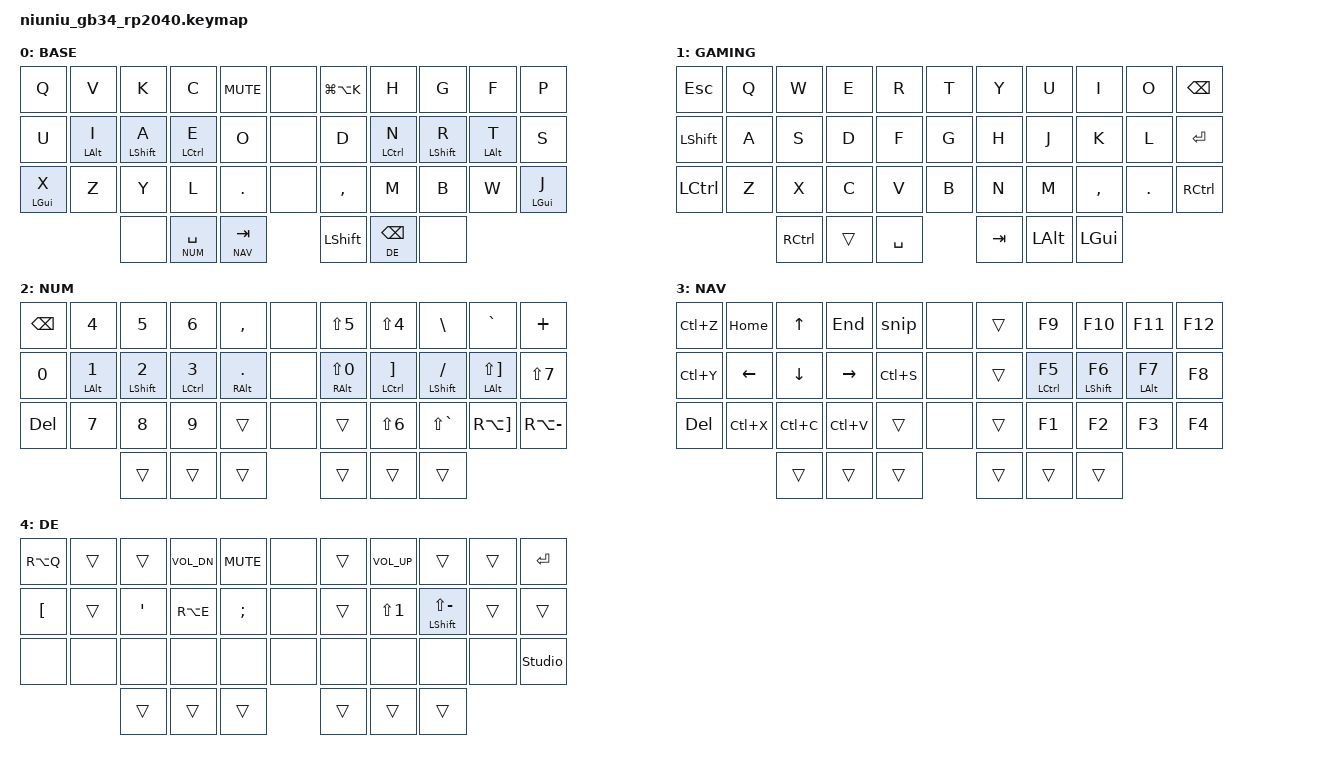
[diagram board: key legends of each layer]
// Copyright (c) 2023 The ZMK Contributors
// SPDX-License-Identifier: MIT

#include <behaviors.dtsi>
#include <dt-bindings/zmk/keys.h>
#include <dt-bindings/zmk/outputs.h>


#define BASE 0
#define NUM  2
#define NAV  3
#define DE   4
#define GAMING 1

#define COMBO(NAME, BINDINGS, KEYPOS, LAYERS) \
combo_##NAME { \
    timeout-ms = <20>; \
    bindings = <BINDINGS>; \
    key-positions = <KEYPOS>; \
    layers = <LAYERS>; \
};

// ------------------------------------------------------------------------------------------------------
// |    0    |    1    |    2    |    3    |    4    |    5    |    6    |    7    |    8    |    9    |   10    |
// |   11    |   12    |   13    |   14    |   15    |   16    |   17    |   18    |   19    |   20    |   21    |
// |   22    |   23    |   24    |   25    |   26    |   27    |   28    |   29    |   30    |   31    |   32    |
//                 |   33    |   34    |   35    |       36       |   37    |   38    |   39    |

/ {

   chosen {
       zmk-physical-layout = &layout_ortho_2x2u;
   };

   combos {
       compatible = "zmk,combos";
        /* Top corners (Q+P) = bootloader */

        COMBO(boot, &bootloader, 0 10, BASE)
        COMBO(shiftablesch, &macro_shiftable_sch, 19 20, 0)
        COMBO(sfS,  &kp MINUS,  18 19, BASE DE) // Scharf S ß
        COMBO(LT,   &kp NUBS,       23  24, BASE ) // lower than
        COMBO(GT,   &kp LS(NUBS),   30  31, BASE ) // greater than
        COMBO(PIP,  &kp RA(NUBS),   30  31, NUM ) // PIPE
        COMBO(DOT,  &kp DOT,        12  13, BASE NUM)  
        COMBO(CMA,&kp COMMA,        13  14, BASE NUM)
        COMBO(ESC,  &kp ESC,        11  1,  BASE NUM NAV DE)
        COMBO(SQT,  &kp LS(NUHS),   29 30, NUM ) // Single quotes
        COMBO(DQT,  &kp LS(N2),     29  30, BASE )// Double quotes
        COMBO(EQL,  &kp LS(N0),     18  19, NUM)
        COMBO(ENTR, &kp ENTER,      8   9,  BASE NUM NAV DE)
        COMBO(ENTR2, &kp ENTER,     1   2,  BASE NUM NAV DE)
        COMBO(GAM, &tog GAMING,     33  38, BASE GAMING)
        COMBO(br1,  &macro_brc1,     24 25,  NUM)
        COMBO(br2,  &macro_brc2,     23 24,  NUM)
        COMBO(br3,  &macro_brc3,     22 23,  NUM)

    };
    macros {
        snip: snip {
            compatible = "zmk,behavior-macro";
            #binding-cells = <0>;
            bindings = <&macro_press &kp LSHFT &kp LEFT_GUI
                        &macro_tap &kp S
                        &macro_release &kp LSHIFT &kp LEFT_GUI>;
            display-name = "SNIP";
        };
        macro_shiftable_sch: macro_shiftable_sch {
            display-name = "Macro_shiftable_sch";
            compatible = "zmk,behavior-macro";
            #binding-cells = <0>;
            bindings = <
                    &macro_tap &kp S
                    &macro_release &kp LSHIFT
                    &macro_tap &kp C &kp H
            >;
            tap-ms = <10>;
        };
        macro_brc1: macro_brc1 {
            display-name = "macro_brc1";
            compatible = "zmk,behavior-macro";
            #binding-cells = <0>;
            bindings = <
                    &macro_tap &kp LS(N8)
                    &macro_tap &kp LS(N9)
                    &macro_tap &kp LEFT
            >;
            tap-ms = <10>;
        };
        macro_brc2: macro_brc2 {
            display-name = "macro_brc2";
            compatible = "zmk,behavior-macro";
            #binding-cells = <0>;
            bindings = <
                    &macro_tap &kp RA(N8)
                    &macro_tap &kp RA(N9)
                    &macro_tap &kp LEFT
            >;
            tap-ms = <10>;
        };
        macro_brc3: macro_brc3 {
            display-name = "macro_brc3";
            compatible = "zmk,behavior-macro";
            #binding-cells = <0>;
            bindings = <
                    &macro_tap &kp RA(N7)
                    &macro_tap &kp RA(N0)
                    &macro_tap &kp LEFT
            >;
            tap-ms = <10>;
        };


    };

    behaviors {
        hl: homerow_mods_left {
            compatible = "zmk,behavior-hold-tap";
            display-name = "homerow mods left";
            #binding-cells = <2>;
            //flavor = "hold-preferred";
            // flavor = "tap-preferred";
            flavor = "balanced";
            tapping-term-ms = <200>;
            //quick-tap-ms = <100>;
            //hold-while-undecided;
            // global-quick-tap;
            bindings = <&kp>, <&kp>;
            // opposite side hand keys
            hold-trigger-key-positions = <5 6 7 8 9 10  16 17 18 19 20 21 27 28 29 30 31 32 33 34 35 36 37 38 39>;
        };
        hr: homerow_mods_right {
            compatible = "zmk,behavior-hold-tap";
            display-name = "homerow mods right";
            #binding-cells = <2>;
            //flavor = "hold-preferred";
            // flavor = "tap-preferred";
            flavor = "balanced";
            tapping-term-ms = <200>;
            //hold-while-undecided;
            //quick-tap-ms = <100>;
            // global-quick-tap;
            bindings = <&kp>, <&kp>;
            // opposite side hand keys
            hold-trigger-key-positions = <0 1 2 3 4 5 11 12 13 14 15 22 23 24 25 26 33 34 35 36 37 38 39>;
        };
        lt_wr: layer_toggle_write {
            compatible = "zmk,behavior-hold-tap";
            #binding-cells = <2>;
            flavor = "hold-preferred";
            tapping-term-ms = <200>;
            bindings = <&mo>, <&kp>;
            display-name = "Layer-Toggle writing";
        };
    };


    keymap {
        compatible = "zmk,keymap";

        BASE_layer {
            display-name= "BASE";
            bindings = <
    &kp Q       &kp V        &kp K          &kp C           &kp C_MUTE   &none    &kp LG(LA(K))    &kp H       &kp G       &kp F       &kp P
    &kp U       &hl LALT I   &hl LSHFT A    &hl LCTRL E     &kp O       &none    &kp D       &hr LCTRL N &hr LSHFT R &hr LALT T  &kp S
    &hl LGUI X  &kp Z        &kp Y          &kp L           &kp DOT     &none    &kp COMMA   &kp M       &kp B       &kp W       &hr LGUI J
                   &none         &lt NUM SPACE         &lt NAV TAB     &kp LSHIFT  &lt_wr DE BSPC       &none        
            >;
        };
    GAM_layer {
        display-name= "GAMING";
        bindings = <
    &kp ESC    &kp Q    &kp W    &kp E    &kp R    &kp T    &kp Y    &kp U     &kp I     &kp O    &kp BSPC
    &kp LSHIFT &kp A    &kp S    &kp D    &kp F    &kp G    &kp H    &kp J     &kp K     &kp L    &kp ENTER
    &kp LCTRL  &kp Z    &kp X    &kp C    &kp V    &kp B    &kp N    &kp M     &kp COMMA &kp DOT  &kp RCTRL
                     &kp RCTRL &trans       &kp SPACE      &kp TAB    &kp LALT     &kp  LGUI   
            >;
        };
        NUM_layer {
            display-name= "NUM";
            bindings = <
    &kp BSPC   &kp N4        &kp N5           &kp N6            &kp COMMA        &none   &kp LS(N5)       &kp LS(N4)      &kp BSLH       &kp GRAVE         &kp PLUS
    &kp N0     &hl LALT N1   &hl LSHFT N2     &hl LCTRL N3      &hl RALT DOT     &none   &hr RALT LS(N0)  &hr LCTRL RBKT &hr LSHFT SLASH &hr LALT LS(RBKT) &kp LS(N7)
    &kp DEL    &kp N7        &kp N8           &kp N9            &trans           &none   &trans           &kp LS(N6)     &kp LS(GRAVE)   &kp RA(RBKT)      &kp RA(MINUS)
                    &trans    &trans    &trans              &trans       &trans       &trans   
            >;
        };
        NAV_layer {
    display-name= "NAV";
    bindings = <
        &kp LC(Z)   &kp HOME     &kp UP        &kp END        &snip      &none      &trans       &kp F9        &kp F10       &kp F11     &kp F12
        &kp LC(Y)   &kp LEFT     &kp DOWN      &kp RIGHT      &kp LC(S)  &none      &trans       &hr LCTRL F5  &hr LSHFT F6  &hr LALT F7 &kp F8
        &kp DEL     &kp LC(X)    &kp LC(C)     &kp LC(V)      &trans     &none      &trans       &kp F1        &kp F2        &kp F3      &kp F4
        &trans      &trans       &trans        &trans         &trans     &trans     
    >;
    };

        DE_layer {
            display-name= "DE";
            bindings = <
                &kp RA(Q) &trans       &trans       &kp C_VOL_DN &kp C_MUTE   &none  &trans   &kp C_VOL_UP   &trans               &trans       &kp ENTER
                &kp LBKT  &trans       &kp SQT      &kp RA(E)    &kp SEMI     &none  &trans   &kp LS(N1)     &hr LSHIFT LS(MINUS) &trans       &trans
                &none     &none        &none        &none        &none        &none  &none    &none          &none                &none        &studio_unlock 
                &trans      &trans       &trans        &trans         &trans     &trans   
            >;
        };



    };
};
